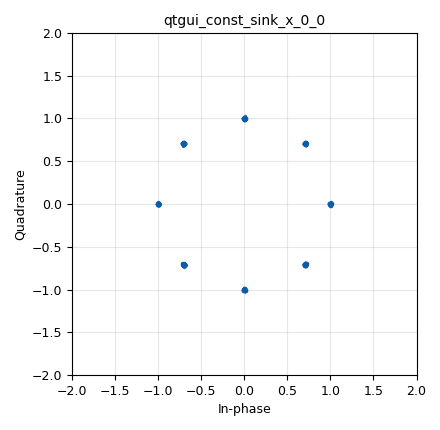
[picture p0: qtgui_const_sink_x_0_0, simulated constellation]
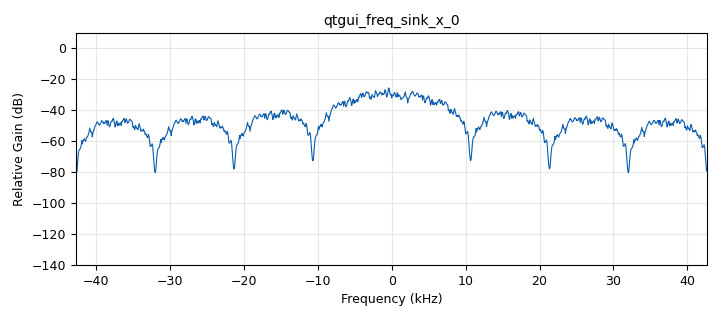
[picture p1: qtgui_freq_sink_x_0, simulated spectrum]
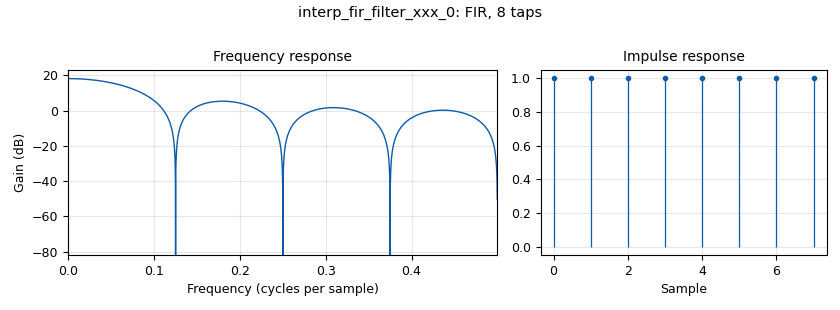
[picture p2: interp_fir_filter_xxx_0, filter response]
options:
  parameters:
    generate_options: qt_gui
    id: Practica4
    output_language: python
    title: Practica4_leo_leandro
  states: {}

blocks:
- name: h
  id: variable
  parameters:
    value: (1,1,1,1,1,1,1,1)
  states: {}
- name: m
  id: variable
  parameters:
    value: '8'
  states: {}
- name: nbps
  id: variable
  parameters:
    value: math.log(m,2)
  states: {}
- name: rb
  id: variable
  parameters:
    value: '32000'
  states: {}
- name: rs
  id: variable
  parameters:
    value: rb/nbps
  states: {}
- name: samp_rate
  id: variable
  parameters:
    value: rs*sps
  states: {}
- name: sps
  id: variable
  parameters:
    value: len(h)
  states: {}
- name: analog_const_source_x_0
  id: analog_const_source_x
  parameters:
    const: '1'
    type: float
  states: {}
- name: analog_noise_source_x_0
  id: analog_noise_source_x
  parameters:
    amp: '0.01'
    noise_type: analog.GR_GAUSSIAN
    seed: '0'
    type: complex
  states: {}
- name: analog_random_source_x_0
  id: analog_random_source_x
  parameters:
    max: '2'
    min: '0'
    num_samps: '1000'
    repeat: 'True'
    type: byte
  states: {}
- name: blocks_add_xx_0
  id: blocks_add_xx
  parameters:
    type: complex
  states: {}
- name: blocks_char_to_float_0
  id: blocks_char_to_float
  parameters:
    scale: '1'
  states: {state: disabled}
- name: blocks_char_to_float_0_0
  id: blocks_char_to_float
  parameters:
    scale: '1'
  states: {state: disabled}
- name: blocks_char_to_float_1
  id: blocks_char_to_float
  parameters:
    scale: '1'
  states: {}
- name: blocks_multiply_const_vxx_0
  id: blocks_multiply_const_vxx
  parameters:
    const: 2*math.pi/m
    type: float
  states: {}
- name: blocks_null_sink_0
  id: blocks_null_sink
  parameters:
    type: complex
  states: {state: disabled}
- name: blocks_repack_bits_bb_0
  id: blocks_repack_bits_bb
  parameters:
    endianness: gr.GR_LSB_FIRST
    k: '1'
    l: int(nbps)
  states: {}
- name: epy_block_0
  id: epy_block
  parameters:
    _source_code: |
      """
      Embedded Python Blocks:

      Each time this file is saved, GRC will instantiate the first class it finds
      to get ports and parameters of your block. The arguments to __init__  will
      be the parameters. All of them are required to have default values!
      """

      import numpy as np
      from gnuradio import gr


      class blk(gr.sync_block):  # other base classes are basic_block, decim_block, interp_block
          """Embedded Python Block example - a simple multiply const"""

          def __init__(self, example_param=1.0):  # only default arguments here
              """arguments to this function show up as parameters in GRC"""
              gr.sync_block.__init__(
                  self,
                  name='VCO complex',   # will show up in GRC
                  in_sig=[np.float32,np.float32],
                  out_sig=[np.complex64]
              )
              # if an attribute with the same name as a parameter is found,
              # a callback is registered (properties work, too).
              self.example_param = example_param

          def work(self, input_items, output_items):


              Q = input_items[0]
              A = input_items[1]
              Sec = output_items[0]
              Sec[:] = A * np.exp(1.j * Q)
              return len(Sec)
               
              """example: multiply with constant"""
              output_items[0][:] = input_items[0] * self.example_param
              return len(output_items[0])
    example_param: '1.0'
  states: {}
- name: import_1
  id: import
  parameters:
    imports: import math
  states: {}
- name: interp_fir_filter_xxx_0
  id: interp_fir_filter_xxx
  parameters:
    interp: '8'
    taps: h
    type: ccc
  states: {}
- name: qtgui_const_sink_x_0
  id: qtgui_const_sink_x
  parameters:
    gui_hint: tab@1
    size: '1024'
    type: complex
  states: {state: disabled}
- name: qtgui_const_sink_x_0_0
  id: qtgui_const_sink_x
  parameters:
    gui_hint: tab@1
    size: '1024'
    type: complex
  states: {}
- name: qtgui_freq_sink_x_0
  id: qtgui_freq_sink_x
  parameters:
    average: '0.05'
    bw: samp_rate
    fc: '0'
    fftsize: '1024'
    gui_hint: tab@0
    type: complex
  states: {}
- name: qtgui_time_sink_x_0
  id: qtgui_time_sink_x
  parameters:
    gui_hint: tab@2
    label1: ''
    marker1: '0'
    size: '32'
    srate: rb
    stemplot: 'True'
    type: float
  states: {state: disabled}
- name: qtgui_time_sink_x_0_0
  id: qtgui_time_sink_x
  parameters:
    gui_hint: tab@2
    label1: m-pam
    marker1: '0'
    size: int(32/nbps)
    srate: rs
    stemplot: 'True'
    type: float
  states: {state: disabled}
- name: qtgui_time_sink_x_0_0_0
  id: qtgui_time_sink_x
  parameters:
    gui_hint: tab@2
    label1: M-PAM mod
    marker1: '0'
    size: int(32/nbps)
    srate: rs
    stemplot: 'True'
    type: float
  states: {state: disabled}
- name: qtgui_time_sink_x_0_0_0_0
  id: qtgui_time_sink_x
  parameters:
    gui_hint: tab@2
    label1: EC-RE
    label2: EC-lm
    marker1: '0'
    marker2: '0'
    size: int(32/nbps)
    srate: rs
    stemplot: 'True'
    type: complex
  states: {state: disabled}
- name: qtgui_time_sink_x_1
  id: qtgui_time_sink_x
  parameters:
    gui_hint: tab@2
    label1: EC-Re
    label2: EC-lm
    size: int(32*sps/nbps)
    srate: samp_rate
    type: complex
    width1: '3'
    width2: '3'
  states: {state: disabled}
- name: qtgui_time_sink_x_1_0
  id: qtgui_time_sink_x
  parameters:
    gui_hint: tab@2
    label1: adsfdsaf
    label2: asdfadsfasfdsadfa
    size: '512'
    srate: samp_rate
    type: complex
    width1: '3'
    width2: '3'
  states: {state: disabled}
- name: tab
  id: qtgui_tab_widget
  parameters:
    label0: frecuency
    label1: constelacion
    label2: sink
    num_tabs: '3'
  states: {}

connections:
- [analog_const_source_x_0, '0', epy_block_0, '1']
- [analog_noise_source_x_0, '0', blocks_add_xx_0, '1']
- [analog_noise_source_x_0, '0', qtgui_time_sink_x_1_0, '0']
- [analog_random_source_x_0, '0', blocks_char_to_float_0, '0']
- [analog_random_source_x_0, '0', blocks_repack_bits_bb_0, '0']
- [blocks_add_xx_0, '0', blocks_null_sink_0, '0']
- [blocks_add_xx_0, '0', qtgui_const_sink_x_0_0, '0']
- [blocks_char_to_float_0, '0', qtgui_time_sink_x_0, '0']
- [blocks_char_to_float_0_0, '0', qtgui_time_sink_x_0_0, '0']
- [blocks_char_to_float_1, '0', blocks_multiply_const_vxx_0, '0']
- [blocks_multiply_const_vxx_0, '0', epy_block_0, '0']
- [blocks_multiply_const_vxx_0, '0', qtgui_time_sink_x_0_0_0, '0']
- [blocks_repack_bits_bb_0, '0', blocks_char_to_float_0_0, '0']
- [blocks_repack_bits_bb_0, '0', blocks_char_to_float_1, '0']
- [epy_block_0, '0', interp_fir_filter_xxx_0, '0']
- [epy_block_0, '0', qtgui_const_sink_x_0, '0']
- [epy_block_0, '0', qtgui_time_sink_x_0_0_0_0, '0']
- [interp_fir_filter_xxx_0, '0', blocks_add_xx_0, '0']
- [interp_fir_filter_xxx_0, '0', qtgui_freq_sink_x_0, '0']
- [interp_fir_filter_xxx_0, '0', qtgui_time_sink_x_1, '0']

metadata:
  file_format: 1
  grc_version: 3.10.12.0
